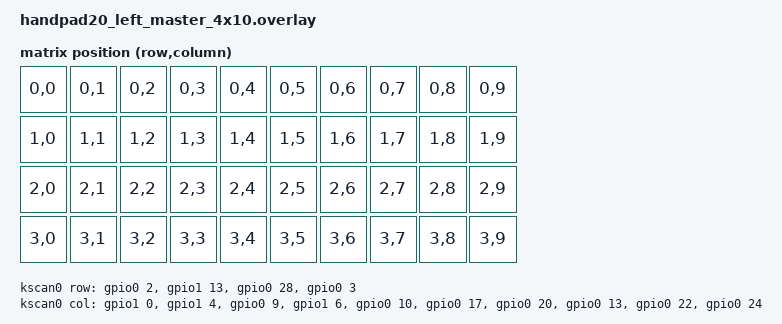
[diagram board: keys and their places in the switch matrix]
#include <dt-bindings/zmk/matrix_transform.h>

/ {
    chosen {
        zmk,kscan = &kscan0;
        zmk,matrix_transform = &default_transform;
    };

    kscan0: kscan {
        compatible = "zmk,kscan-gpio-matrix";
        label = "KSCAN";

        diode-direction = "col2row";

        /*
         * Left PCB has the controller; right PCB is passive.
         *
         * Left PCB keys use its local COL12..COL16.
         * The passive PCB local key columns are wired directly as:
         *
         *   controller COL7  -> passive COL12
         *   controller COL8  -> passive COL13
         *   controller COL9  -> passive COL14
         *   controller COL10 -> passive COL15
         *   controller COL11 -> passive COL16
         *
         * ROW1..ROW4 are connected one-to-one between both PCBs.
         * GPIO order below is the physical keyboard order from left to right.
         */
        col-gpios = <&gpio1 0 GPIO_ACTIVE_HIGH>,   /* local col 1 / COL12 */
                    <&gpio1 4 GPIO_ACTIVE_HIGH>,   /* local col 2 / COL13 */
                    <&gpio0 9 GPIO_ACTIVE_HIGH>,   /* local col 3 / COL14 */
                    <&gpio1 6 GPIO_ACTIVE_HIGH>,   /* local col 4 / COL15 */
                    <&gpio0 10 GPIO_ACTIVE_HIGH>,  /* local col 5 / COL16 */
                    <&gpio0 17 GPIO_ACTIVE_HIGH>,  /* COL7  -> passive COL12 */
                    <&gpio0 20 GPIO_ACTIVE_HIGH>,  /* COL8  -> passive COL13 */
                    <&gpio0 13 GPIO_ACTIVE_HIGH>,  /* COL9  -> passive COL14 */
                    <&gpio0 22 GPIO_ACTIVE_HIGH>,  /* COL10 -> passive COL15 */
                    <&gpio0 24 GPIO_ACTIVE_HIGH>;  /* COL11 -> passive COL16 */

        row-gpios = <&gpio0 2 (GPIO_ACTIVE_HIGH | GPIO_PULL_DOWN)>,  /* ROW1 */
                    <&gpio1 13 (GPIO_ACTIVE_HIGH | GPIO_PULL_DOWN)>, /* ROW2 */
                    <&gpio0 28 (GPIO_ACTIVE_HIGH | GPIO_PULL_DOWN)>, /* ROW3 */
                    <&gpio0 3 (GPIO_ACTIVE_HIGH | GPIO_PULL_DOWN)>;  /* ROW4 */
    };

    default_transform: keymap_transform0 {
        compatible = "zmk,matrix-transform";
        columns = <10>;
        rows = <4>;

        map = <
            RC(0,0) RC(0,1) RC(0,2) RC(0,3) RC(0,4) RC(0,5) RC(0,6) RC(0,7) RC(0,8) RC(0,9)
            RC(1,0) RC(1,1) RC(1,2) RC(1,3) RC(1,4) RC(1,5) RC(1,6) RC(1,7) RC(1,8) RC(1,9)
            RC(2,0) RC(2,1) RC(2,2) RC(2,3) RC(2,4) RC(2,5) RC(2,6) RC(2,7) RC(2,8) RC(2,9)
            RC(3,0) RC(3,1) RC(3,2) RC(3,3) RC(3,4) RC(3,5) RC(3,6) RC(3,7) RC(3,8) RC(3,9)
        >;
    };
};
